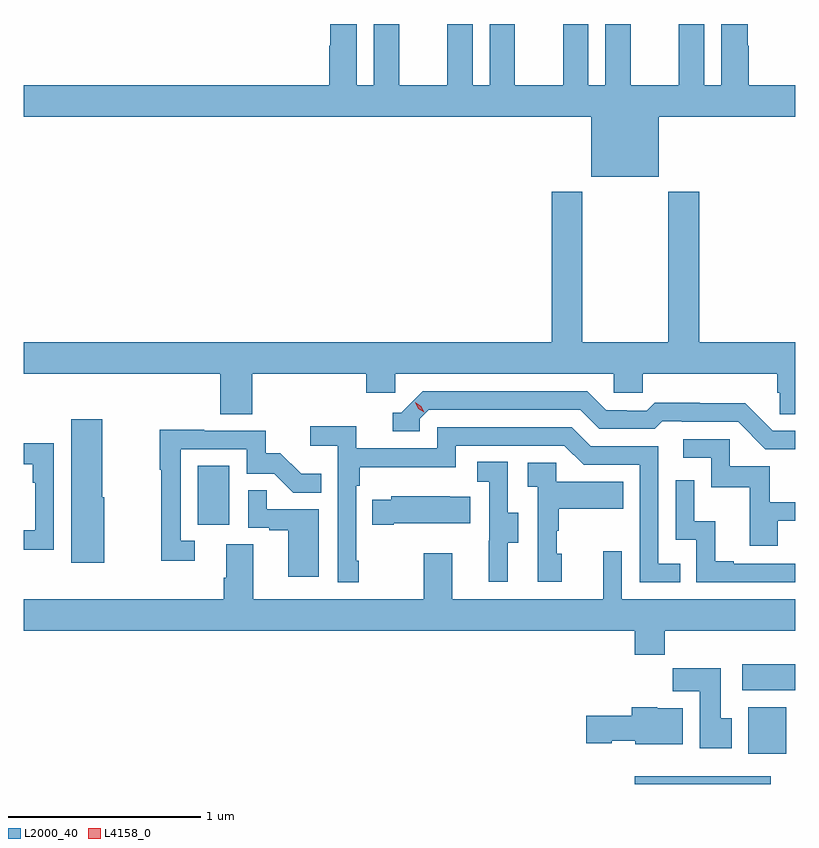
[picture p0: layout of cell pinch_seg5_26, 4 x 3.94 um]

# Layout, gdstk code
import gdstk
lib = gdstk.Library(unit=1e-6, precision=1e-09)
def R(c, l, rs):  # rectangles x0, y0, x1, y1
    for r in rs: c.add(gdstk.rectangle(r[:2], r[2:], *l))
def P(c, l, *ps):  # polygons
    for p in ps: c.add(gdstk.Polygon(p, *l))
L2000_40 = (2000, 40)
L4158_0 = (4158, 0)

pinch_seg5_26 = lib.new_cell('pinch_seg5_26')
R(pinch_seg5_26, L2000_40, [(1132.397,893.263,1133.101,893.302), (1132.985,893.42,1133.182,893.662), (1132.953,893.75,1133.229,893.884), (1130.132,894.606,1130.296,894.913)])
P(pinch_seg5_26, L2000_40, [(1132.522,896.72),(1133.229,896.72),(1133.229,896.884),(1132.988,896.884),(1132.988,897.089),(1132.981,897.089),(1132.981,897.202),(1132.844,897.202),(1132.844,896.884),(1132.756,896.884),(1132.756,897.202),(1132.625,897.202),(1132.625,896.884),(1132.375,896.884),(1132.375,897.202),(1132.244,897.202),(1132.244,896.884),(1132.156,896.884),(1132.156,897.202),(1132.025,897.202),(1132.025,896.884),(1131.775,896.884),(1131.775,897.202),(1131.644,897.202),(1131.644,896.884),(1131.556,896.884),(1131.556,897.202),(1131.425,897.202),(1131.425,896.884),(1131.175,896.884),(1131.175,897.202),(1131.044,897.202),(1131.044,896.884),(1130.956,896.884),(1130.956,897.202),(1130.819,897.202),(1130.819,897.089),(1130.813,897.089),(1130.813,896.884),(1129.229,896.884),(1129.229,896.72),(1132.172,896.72),(1132.172,896.411),(1132.522,896.411)],
  [(1130.414,895.388),(1131.005,895.388),(1131.005,895.29),(1131.156,895.29),(1131.156,895.388),(1132.287,895.388),(1132.287,895.29),(1132.437,895.29),(1132.437,895.388),(1133.135,895.388),(1133.135,895.29),(1133.149,895.29),(1133.149,895.18),(1133.229,895.18),(1133.229,895.552),(1132.73,895.552),(1132.73,896.332),(1132.57,896.332),(1132.57,895.552),(1132.125,895.552),(1132.125,896.332),(1131.965,896.332),(1131.965,895.552),(1129.229,895.552),(1129.229,895.388),(1130.249,895.388),(1130.249,895.18),(1130.414,895.18)],
  [(1133.229,895.095),(1133.112,895.095),(1132.97,895.237),(1132.734,895.237),(1132.734,895.24),(1132.501,895.24),(1132.459,895.197),(1132.356,895.197),(1132.356,895.2),(1132.249,895.2),(1132.15,895.299),(1131.297,895.299),(1131.186,895.188),(1131.143,895.188),(1131.143,895.092),(1131.282,895.092),(1131.282,895.155),(1131.33,895.203),(1132.113,895.203),(1132.212,895.104),(1132.501,895.104),(1132.54,895.143),(1132.639,895.143),(1132.639,895.14),(1132.932,895.14),(1133.073,894.999),(1133.229,894.999)],
  [(1129.648,894.75),(1129.636,894.75),(1129.636,895.153),(1129.475,895.153),(1129.475,894.41),(1129.648,894.41)],
  [(1130.965,894.421),(1130.952,894.421),(1130.952,894.809),(1130.972,894.809),(1130.972,894.905),(1131.468,894.905),(1131.468,895.017),(1132.032,895.017),(1132.131,894.918),(1132.422,894.918),(1132.422,894.309),(1132.631,894.309),(1132.631,894.405),(1132.518,894.405),(1132.518,895.014),(1132.168,895.014),(1132.069,895.113),(1131.372,895.113),(1131.372,895.002),(1130.954,895.002),(1130.954,895.118),(1130.715,895.118),(1130.715,895.016),(1130.856,895.016),(1130.856,894.309),(1130.965,894.309)],
  [(1130.116,894.525),(1130.043,894.525),(1130.043,894.999),(1130.385,894.999),(1130.385,894.87),(1130.529,894.87),(1130.627,894.772),(1130.771,894.772),(1130.771,894.871),(1130.667,894.871),(1130.56,894.978),(1130.484,894.978),(1130.484,895.095),(1130.165,895.095),(1130.165,895.1),(1129.935,895.1),(1129.935,894.892),(1129.942,894.892),(1129.942,894.42),(1130.116,894.42)],
  [(1133.137,894.627),(1133.229,894.627),(1133.229,894.723),(1133.095,894.723),(1133.095,894.909),(1132.89,894.909),(1132.89,895.05),(1132.647,895.05),(1132.647,894.954),(1132.794,894.954),(1132.794,894.801),(1132.993,894.801),(1132.993,894.498),(1133.137,894.498)],
  [(1129.386,895.03),(1129.229,895.03),(1129.229,894.92),(1129.277,894.92),(1129.277,894.824),(1129.29,894.824),(1129.29,894.579),(1129.229,894.579),(1129.229,894.478),(1129.386,894.478)],
  [(1131.739,894.514),(1131.793,894.514),(1131.793,894.669),(1131.738,894.669),(1131.738,894.932),(1131.579,894.932),(1131.579,894.829),(1131.642,894.829),(1131.642,894.525),(1131.641,894.525),(1131.641,894.312),(1131.739,894.312)],
  [(1132.018,894.456),(1131.993,894.456),(1131.993,894.575),(1132.003,894.575),(1132.003,894.689),(1132.337,894.689),(1132.337,894.829),(1131.99,894.829),(1131.99,894.927),(1131.843,894.927),(1131.843,894.803),(1131.894,894.803),(1131.894,894.312),(1132.018,894.312)],
  [(1133.229,894.405),(1132.909,894.405),(1132.909,894.418),(1132.814,894.418),(1132.814,894.626),(1132.704,894.626),(1132.704,894.838),(1132.608,894.838),(1132.608,894.528),(1132.716,894.528),(1132.716,894.309),(1133.229,894.309)],
  [(1130.758,894.687),(1130.489,894.687),(1130.489,894.785),(1130.394,894.785),(1130.394,894.591),(1130.501,894.591),(1130.501,894.579),(1130.6,894.579),(1130.6,894.336),(1130.758,894.336)],
  [(1131.148,894.614),(1131.545,894.614),(1131.545,894.751),(1131.437,894.751),(1131.437,894.754),(1131.135,894.754),(1131.135,894.736),(1131.037,894.736),(1131.037,894.607),(1131.148,894.607)],
  [(1132.553,894.056),(1133.229,894.056),(1133.229,894.22),(1132.329,894.22),(1132.329,894.469),(1132.232,894.469),(1132.232,894.22),(1131.451,894.22),(1131.451,894.46),(1131.304,894.46),(1131.304,894.22),(1130.419,894.22),(1130.419,894.506),(1130.279,894.506),(1130.279,894.332),(1130.267,894.332),(1130.267,894.22),(1129.229,894.22),(1129.229,894.056),(1132.397,894.056),(1132.397,893.932),(1132.553,893.932)],
  [(1132.9,893.604),(1132.843,893.604),(1132.843,893.863),(1132.594,893.863),(1132.594,893.744),(1132.733,893.744),(1132.733,893.448),(1132.9,893.448)],
  [(1132.645,893.656),(1132.512,893.656),(1132.512,893.662),(1132.382,893.662),(1132.382,893.616),(1132.146,893.616),(1132.146,893.474),(1132.278,893.474),(1132.278,893.486),(1132.398,893.486),(1132.398,893.468),(1132.645,893.468)])
P(pinch_seg5_26, L4158_0, [(1131.306,895.189),(1131.275,895.209),(1131.259,895.241),(1131.259,895.242),(1131.259,895.242),(1131.29,895.222),(1131.306,895.189),(1131.306,895.189)])

lib.write_gds('pinch_seg5_26.gds')
